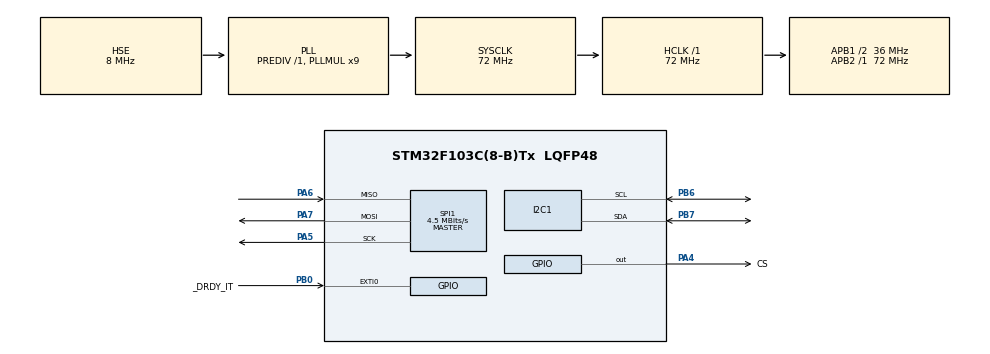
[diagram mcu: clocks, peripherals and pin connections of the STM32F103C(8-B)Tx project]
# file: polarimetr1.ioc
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Mcu.Family=STM32F1
Mcu.Name=STM32F103C(8-B)Tx
Mcu.Package=LQFP48
NVIC.EXTI0_IRQn=true\:0\:0\:false\:false\:true\:true\:true
NVIC.PriorityGroup=NVIC_PRIORITYGROUP_4
PA13.Mode=Serial_Wire
PA13.Signal=SYS_JTMS-SWDIO
PA14.Mode=Serial_Wire
PA14.Signal=SYS_JTCK-SWCLK
PA4.GPIO_Label=CS
PA4.GPIO_Speed=GPIO_SPEED_FREQ_HIGH
PA4.Signal=GPIO_Output
PA5.Mode=Full_Duplex_Master
PA5.Signal=SPI1_SCK
PA6.Mode=Full_Duplex_Master
PA6.Signal=SPI1_MISO
PA7.Mode=Full_Duplex_Master
PA7.Signal=SPI1_MOSI
PB0.GPIO_Label=_DRDY_IT
PB0.GPIO_ModeDefaultEXTI=GPIO_MODE_IT_FALLING
PB0.Signal=GPXTI0
PB6.Mode=I2C
PB6.Signal=I2C1_SCL
PB7.Mode=I2C
PB7.Signal=I2C1_SDA
PD0-OSC_IN.Mode=HSE-External-Oscillator
PD0-OSC_IN.Signal=RCC_OSC_IN
PD1-OSC_OUT.Mode=HSE-External-Oscillator
PD1-OSC_OUT.Signal=RCC_OSC_OUT
ProjectManager.HeapSize=0x200
ProjectManager.StackSize=0x400
ProjectManager.TargetToolchain=MDK-ARM V5.27
RCC.AHBFreq_Value=72000000
RCC.APB1CLKDivider=RCC_HCLK_DIV2
RCC.APB1Freq_Value=36000000
RCC.APB1TimFreq_Value=72000000
RCC.APB2Freq_Value=72000000
RCC.APB2TimFreq_Value=72000000
RCC.HCLKFreq_Value=72000000
RCC.PLLMUL=RCC_PLL_MUL9
RCC.PLLSourceVirtual=RCC_PLLSOURCE_HSE
RCC.SYSCLKFreq_VALUE=72000000
RCC.SYSCLKSource=RCC_SYSCLKSOURCE_PLLCLK
RCC.USBFreq_Value=72000000
SPI1.BaudRatePrescaler=SPI_BAUDRATEPRESCALER_16
SPI1.CLKPhase=SPI_PHASE_2EDGE
SPI1.CLKPolarity=SPI_POLARITY_LOW
SPI1.CalculateBaudRate=4.5 MBits/s
SPI1.Direction=SPI_DIRECTION_2LINES
SPI1.Mode=SPI_MODE_MASTER
SPI1.VirtualType=VM_MASTER
board=custom

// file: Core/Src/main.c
/* USER CODE BEGIN Header */
/**
  ******************************************************************************
  * @file           : main.c
  * @brief          : Main program body
  ******************************************************************************
  * @attention
  *
  * <h2><center>&copy; Copyright (c) 2021 STMicroelectronics.
  * All rights reserved.</center></h2>
  *
  * This software component is licensed by ST under BSD 3-Clause license,
  * the "License"; You may not use this file except in compliance with the
  * License. You may obtain a copy of the License at:
  *                        opensource.org/licenses/BSD-3-Clause
  *
  ******************************************************************************
  */
/* USER CODE END Header */
#include "main.h"

/* USER CODE BEGIN Includes */
#include "stdlib.h"
#include <string.h>
#include "ads1220.h"
/* USER CODE END Includes */

/* USER CODE BEGIN PD */
#define LCD_ADDR (0x27 << 1)
#define PIN_RS    (1 << 0)
#define PIN_EN    (1 << 2)
#define BACKLIGHT (1 << 3)
#define restrict
#define LCD_DELAY_MS 5
/* USER CODE END PD */

I2C_HandleTypeDef hi2c1;

SPI_HandleTypeDef hspi1;

/* USER CODE BEGIN PV */
uint8_t rdy =0;
uint8_t ch =0;
uint32_t res;

/* USER CODE END PV */

void SystemClock_Config(void);
static void MX_GPIO_Init(void);
static void MX_I2C1_Init(void);
static void MX_SPI1_Init(void);

/* USER CODE BEGIN 0 */
char* itoa(unsigned long val, uint8_t base){
	if (val==0){return "0";}
	static char buf[32] = {0};

	int i = 30;

	for(; val && i ; --i, val /= base)

		buf[i] = "0123456789abcdef"[val % base];

	return &buf[i+1];

}
void I2C_send(uint8_t data, uint8_t flags){
	HAL_StatusTypeDef res;
	 // ??????????? ????
        for(;;) {
                // ?????????, ?????? ?? ?????????? ?? ?????? lcd_addr ??? ?????
	        res = HAL_I2C_IsDeviceReady(&hi2c1, LCD_ADDR, 1, HAL_MAX_DELAY);
	         // ???? ??, ?? ??????? ?? ???????????? ?????
                if(res == HAL_OK) break;
	    }
        // ???????? ? ? 1111 0000 ???????? ? ????????? ??? ? 0 ?? 3, ???????? ???? ? 4 ?? 7
	uint8_t up = data & 0xF0;
        // ?? ?? ?????, ?? data ?????????? ?? 4 ???? ?????
        uint8_t lo = (data << 4) & 0xF0;

	uint8_t data_arr[4];
         // 4-7 ???? ???????? ??????????, ???? 0-3 ??????????? ?????? ???????
	data_arr[0] = up|flags|BACKLIGHT|PIN_EN;
         // ???????????? ???????, ?? ?????? ? ? ???? ??? 0
	data_arr[1] = up|flags|BACKLIGHT;
	data_arr[2] = lo|flags|BACKLIGHT|PIN_EN;
	data_arr[3] = lo|flags|BACKLIGHT;

	HAL_I2C_Master_Transmit(&hi2c1, LCD_ADDR, data_arr, sizeof(data_arr), HAL_MAX_DELAY);
	HAL_Delay(LCD_DELAY_MS);
}
void LCD_SendString(char *str){
    // *char ?? ???? ???????? ???????
    // ???? ??????? ?? ??????????
	while(*str)
        {
                // ???????? ??????? ??????? ??????
		I2C_send((uint8_t)(*str), 1);
                // ????? ?????? ?????? ?? 1 ??????
                str++;
        }
}
void LCD_Init(void){
	I2C_send(0b00111000,0);   // 8?? ?????? ?????????
  I2C_send(0b00000010,0);   // ????????? ??????? ? ?????? ??????
  I2C_send(0b00001100,0);   // ?????????? ????? ??????, ???? ??????
  I2C_send(0b00000001,0);   // ??????? ???????
}

void LCD_Sendwindow(uint32_t a, uint32_t b){
	LCD_Init();
	LCD_SendString(itoa(a,16));
	I2C_send(0b11000000,0);
	LCD_SendString(itoa(b,16));
	LCD_SendString(" val: ");
	LCD_SendString(itoa((a-b)/(a+b),16));
}
/* USER CODE END 0 */

int main(void)
{

  /* MCU Configuration--------------------------------------------------------*/

  /* Reset of all peripherals, Initializes the Flash interface and the Systick. */
  HAL_Init();

  /* Configure the system clock */
  SystemClock_Config();

  /* Initialize all configured peripherals */
  MX_GPIO_Init();
  MX_I2C1_Init();
  MX_SPI1_Init();
  /* USER CODE BEGIN 2 */
	LCD_Init();
  LCD_SendString("  Hello");
  I2C_send(0b11000000,0);   // ??????? ??????
  LCD_SendString("    pedik");
	HAL_Delay(1000);
	LCD_Init();
	uint32_t a;

	uint32_t b;
	ads1220_init();
  /* USER CODE END 2 */

  /* Infinite loop */
  /* USER CODE BEGIN WHILE */
  while (1)
  {
		ads1220_chanset(0);
		for (int i=0; i<11; i++){
		 	while(rdy==0){};
			a += ads1220_getres();
			rdy = 0;
			ads1220_sync();
		}

		ads1220_chanset(2);
		for (int i=0; i<11; i++){
		 	while(rdy==0){};
			b += ads1220_getres();
			rdy = 0;
			ads1220_sync();
		}

			LCD_Sendwindow(a/10,b/10);

    //HAL_Delay(100);
    /* USER CODE END WHILE */

  }
}

void SystemClock_Config(void)
{
  RCC_OscInitTypeDef RCC_OscInitStruct = {0};
  RCC_ClkInitTypeDef RCC_ClkInitStruct = {0};

  /** Initializes the RCC Oscillators according to the specified parameters
  * in the RCC_OscInitTypeDef structure.
  */
  RCC_OscInitStruct.OscillatorType = RCC_OSCILLATORTYPE_HSE;
  RCC_OscInitStruct.HSEState = RCC_HSE_ON;
  RCC_OscInitStruct.HSEPredivValue = RCC_HSE_PREDIV_DIV1;
  RCC_OscInitStruct.HSIState = RCC_HSI_ON;
  RCC_OscInitStruct.PLL.PLLState = RCC_PLL_ON;
  RCC_OscInitStruct.PLL.PLLSource = RCC_PLLSOURCE_HSE;
  RCC_OscInitStruct.PLL.PLLMUL = RCC_PLL_MUL9;
  if (HAL_RCC_OscConfig(&RCC_OscInitStruct) != HAL_OK)
  {
    Error_Handler();
  }
  /** Initializes the CPU, AHB and APB buses clocks
  */
  RCC_ClkInitStruct.ClockType = RCC_CLOCKTYPE_HCLK|RCC_CLOCKTYPE_SYSCLK
                              |RCC_CLOCKTYPE_PCLK1|RCC_CLOCKTYPE_PCLK2;
  RCC_ClkInitStruct.SYSCLKSource = RCC_SYSCLKSOURCE_PLLCLK;
  RCC_ClkInitStruct.AHBCLKDivider = RCC_SYSCLK_DIV1;
  RCC_ClkInitStruct.APB1CLKDivider = RCC_HCLK_DIV2;
  RCC_ClkInitStruct.APB2CLKDivider = RCC_HCLK_DIV1;

  if (HAL_RCC_ClockConfig(&RCC_ClkInitStruct, FLASH_LATENCY_2) != HAL_OK)
  {
    Error_Handler();
  }
}

static void MX_I2C1_Init(void)
{

  hi2c1.Instance = I2C1;
  hi2c1.Init.ClockSpeed = 100000;
  hi2c1.Init.DutyCycle = I2C_DUTYCYCLE_2;
  hi2c1.Init.OwnAddress1 = 0;
  hi2c1.Init.AddressingMode = I2C_ADDRESSINGMODE_7BIT;
  hi2c1.Init.DualAddressMode = I2C_DUALADDRESS_DISABLE;
  hi2c1.Init.OwnAddress2 = 0;
  hi2c1.Init.GeneralCallMode = I2C_GENERALCALL_DISABLE;
  hi2c1.Init.NoStretchMode = I2C_NOSTRETCH_DISABLE;
  if (HAL_I2C_Init(&hi2c1) != HAL_OK)
  {
    Error_Handler();
  }

}

static void MX_SPI1_Init(void)
{

  /* SPI1 parameter configuration*/
  hspi1.Instance = SPI1;
  hspi1.Init.Mode = SPI_MODE_MASTER;
  hspi1.Init.Direction = SPI_DIRECTION_2LINES;
  hspi1.Init.DataSize = SPI_DATASIZE_8BIT;
  hspi1.Init.CLKPolarity = SPI_POLARITY_LOW;
  hspi1.Init.CLKPhase = SPI_PHASE_2EDGE;
  hspi1.Init.NSS = SPI_NSS_SOFT;
  hspi1.Init.BaudRatePrescaler = SPI_BAUDRATEPRESCALER_16;
  hspi1.Init.FirstBit = SPI_FIRSTBIT_MSB;
  hspi1.Init.TIMode = SPI_TIMODE_DISABLE;
  hspi1.Init.CRCCalculation = SPI_CRCCALCULATION_DISABLE;
  hspi1.Init.CRCPolynomial = 10;
  if (HAL_SPI_Init(&hspi1) != HAL_OK)
  {
    Error_Handler();
  }

}

static void MX_GPIO_Init(void)
{
  GPIO_InitTypeDef GPIO_InitStruct = {0};

  /* GPIO Ports Clock Enable */
  __HAL_RCC_GPIOD_CLK_ENABLE();
  __HAL_RCC_GPIOA_CLK_ENABLE();
  __HAL_RCC_GPIOB_CLK_ENABLE();

  /*Configure GPIO pin Output Level */
  HAL_GPIO_WritePin(CS_GPIO_Port, CS_Pin, GPIO_PIN_RESET);

  /*Configure GPIO pin : CS_Pin */
  GPIO_InitStruct.Pin = CS_Pin;
  GPIO_InitStruct.Mode = GPIO_MODE_OUTPUT_PP;
  GPIO_InitStruct.Pull = GPIO_NOPULL;
  GPIO_InitStruct.Speed = GPIO_SPEED_FREQ_HIGH;
  HAL_GPIO_Init(CS_GPIO_Port, &GPIO_InitStruct);

  /*Configure GPIO pin : _DRDY_IT_Pin */
  GPIO_InitStruct.Pin = _DRDY_IT_Pin;
  GPIO_InitStruct.Mode = GPIO_MODE_IT_FALLING;
  GPIO_InitStruct.Pull = GPIO_NOPULL;
  HAL_GPIO_Init(_DRDY_IT_GPIO_Port, &GPIO_InitStruct);

  /* EXTI interrupt init*/
  HAL_NVIC_SetPriority(EXTI0_IRQn, 0, 0);
  HAL_NVIC_EnableIRQ(EXTI0_IRQn);

}

/* USER CODE BEGIN 4 */
void HAL_GPIO_EXTI_Callback(uint16_t GPIO_Pin){
	if (GPIO_Pin==_DRDY_IT_Pin){
	rdy = 1;
	} else {
		__ASM("nop");;
	}

}
/* USER CODE END 4 */

void Error_Handler(void)
{
  __disable_irq();
  while (1)
  {
  }
}

/************************ (C) COPYRIGHT STMicroelectronics *****END OF FILE****/
